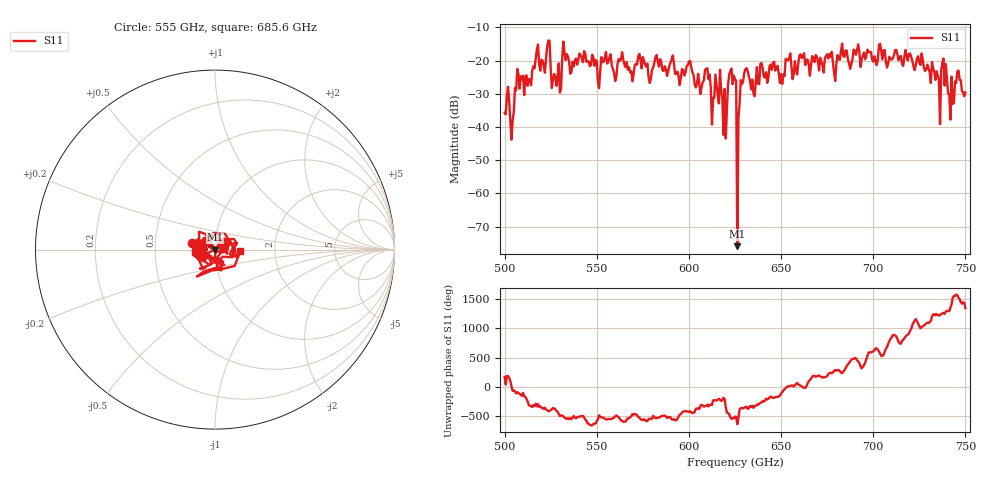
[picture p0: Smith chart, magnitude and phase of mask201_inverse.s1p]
!Created with skrf (http://scikit-rf.org).
# GHz S MA R 50.0
!freq magS11 angS11
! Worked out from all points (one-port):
!   401 points, 500 GHz to 750 GHz, reference 50 ohm
!   lowest |S11| = -75.9 dB at 626.2 GHz (marker M1), VSWR 1.00, Z = 50 + j0.0157 ohm
!   |S11| at or under -10 dB: start of sweep to end of sweep
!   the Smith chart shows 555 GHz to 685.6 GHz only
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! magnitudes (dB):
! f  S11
! 500 GHz  -35.7
! 503.8 GHz  -43.8
! 506.9 GHz  -22.5
! 513.8 GHz  -25.7
! 516.9 GHz  -19.3
! 523.8 GHz  -13.9
! 526.9 GHz  -24.0
! 531.2 GHz  -19.1
! 562.5 GHz  -20.1
! 593.8 GHz  -23.3
! 610 GHz  -22.3
! 619.4 GHz  -28.5
! 623.1 GHz  -22.4
! 624.4 GHz  -24.5
! 625 GHz  -25.6
! 626.2 GHz  -75.9
! 627.5 GHz  -32.7
! 628.1 GHz  -25.9
! 630.6 GHz  -22.6
! 635 GHz  -29.8
! 656.2 GHz  -25.6
! 687.5 GHz  -22.5
! 718.8 GHz  -19.9
! 735 GHz  -24.4
! 738.1 GHz  -19.4
! 742.5 GHz  -24.8
! 745.6 GHz  -23.3
! 750 GHz  -29.6
